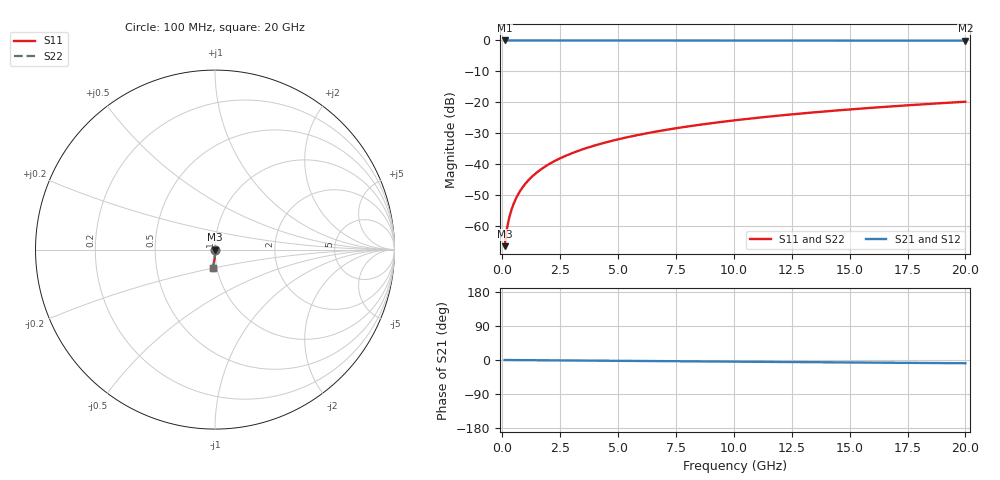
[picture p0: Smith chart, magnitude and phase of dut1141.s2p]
! Touchstone file exported from HFSS 2026.1.0
!  File:  C:/ffzhzh/LocalFiles/Ansys_Project_Files/temp_train_TSV_1141_1783191368_43440.aedt
!  Generated:  02:57:23 AM Jul  5, 2026
!  Design:  TSV
!  Project:  temp_train_TSV_1141_1783191368_43440
! Variables:
!  h_bsmrdl = 2um
!  h_ox = 20um
!  h_rdl = 5um
!  h_sub = 67.18um
!  h_tmrdl = 5um
!  h_tsv = 67.18um
!  h_via = 3um
!  l_bsmrdl = 300um
!  l_sub = 416.06um
!  l_tmrdl = 200um
!  m_sub = 200um
!  pitch = 18.64um
!  r_tsv = 8.03um
!  s_tmrdl = 10um
!  w_bsmrdl = 18um
!  w_sub = 500um
!  w_tmrdl = 12um
!  x_tsv_center1 = 206um
!  x_tsv_center2 = 524um
!  x_tsv_center3 = 736um
!  x_tsv_center4 = 1054um
!  x_tsv_center5 = 1266um
!  x_tsv_center6 = 1584um
# GHz S MA R 50.000000
! Terminal data exported
! Port[1] = TSV1_1_T1
! Port[2] = TSV1_1_T2
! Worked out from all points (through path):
!   200 points, 100 MHz to 20 GHz, reference 50 ohm
!   highest |S21| = 0.00 dB at 100 MHz (marker M1); lowest = -0.1 dB at 20 GHz (marker M2)
!   group delay of S21, straight-line fit = 1.19 ps
!   lowest |S11| = -66.4 dB at 100 MHz (marker M3), VSWR 1.00, Z = 50 - j0.0443 ohm
!   |S11| at or under -10 dB: start of sweep to end of sweep
!   |S22| runs from -66.4 to -19.8 dB; largest |S21 - S12| = 4.3e-15
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0.1  0.0004769 -68.2  0.9998 -0.0  0.9998 -0.0  0.0004769 -68.2
! Gamma 0 0 0 0
! Port Impedance 50 0 50 0
0.2  0.0009175 -77.2  0.9998 -0.1  0.9998 -0.1  0.0009175 -77.2
0.3  0.001382 -80.0  0.9998 -0.1  0.9998 -0.1  0.001382 -80.0
0.4  0.001862 -81.4  0.9997 -0.2  0.9997 -0.2  0.001862 -81.4
0.5  0.002353 -82.3  0.9997 -0.2  0.9997 -0.2  0.002353 -82.3
0.7  0.003357 -83.7  0.9996 -0.3  0.9996 -0.3  0.003357 -83.7
0.8  0.003864 -84.2  0.9996 -0.4  0.9996 -0.4  0.003864 -84.2
1  0.004882 -85.1  0.9995 -0.4  0.9995 -0.4  0.004882 -85.1
1.2  0.005901 -85.8  0.9995 -0.5  0.9995 -0.5  0.005901 -85.8
1.4  0.006919 -86.3  0.9995 -0.6  0.9995 -0.6  0.006919 -86.3
1.7  0.008446 -87.0  0.9994 -0.8  0.9994 -0.8  0.008446 -87.0
2  0.009973 -87.5  0.9994 -0.9  0.9994 -0.9  0.009973 -87.5
2.7  0.01354 -88.3  0.9992 -1.2  0.9992 -1.2  0.01354 -88.3
3.5  0.01763 -89.0  0.9991 -1.5  0.9991 -1.5  0.01763 -89.0
4.2  0.02121 -89.5  0.9989 -1.8  0.9989 -1.8  0.02121 -89.5
5  0.02533 -90.1  0.9987 -2.2  0.9987 -2.2  0.02533 -90.1
6.8  0.03461 -91.1  0.9983 -3.0  0.9983 -3.0  0.03461 -91.1
8.3  0.04236 -91.9  0.9979 -3.6  0.9979 -3.6  0.04236 -91.9
10.1  0.05166 -92.8  0.9973 -4.4  0.9973 -4.4  0.05166 -92.8
13.4  0.06868 -94.4  0.996 -5.8  0.996 -5.8  0.06868 -94.4
16.7  0.08563 -96.0  0.9945 -7.2  0.9945 -7.2  0.08563 -96.0
20  0.1025 -97.5  0.9927 -8.6  0.9927 -8.6  0.1025 -97.5
